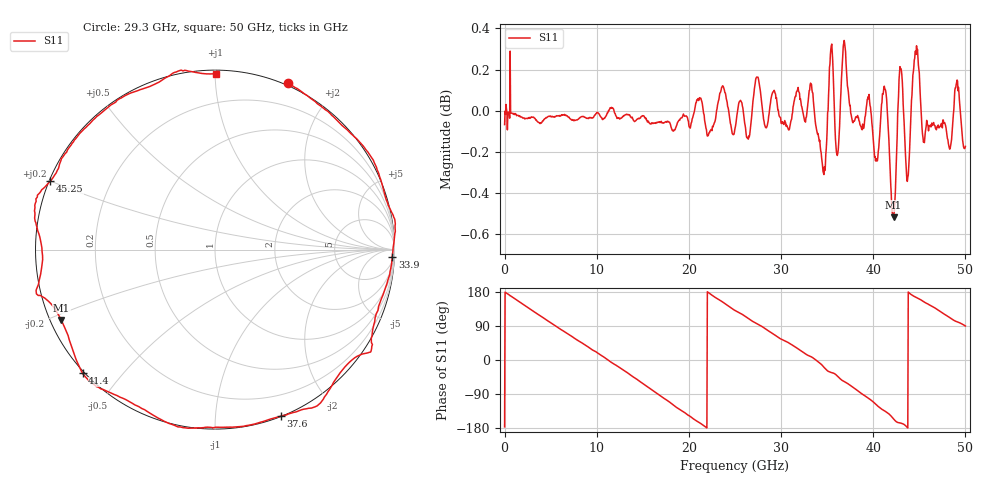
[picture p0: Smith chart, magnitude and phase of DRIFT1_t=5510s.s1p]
!Created with skrf (http://scikit-rf.org).
# Hz S RI R 50.0
!freq ReS11 ImS11
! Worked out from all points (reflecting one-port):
!   1001 points, 300 kHz to 50 GHz, reference 50 ohm
!   lowest |S11| = -0.5 dB at 42.2 GHz (marker M1), VSWR 33.54, Z = 1.56 - j10.9 ohm
!   phase of S11 starts at -176 deg and turns -814 deg over the sweep
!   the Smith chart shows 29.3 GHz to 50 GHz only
!   S11 on the Smith chart (normalised r, x): 29.3 GHz: -0.02, +1.53; 33.9 GHz: 12, -44; 37.6 GHz: 0.00, -1.47; 41.4 GHz: -0.01, -0.39; 45.25 GHz: 0.00, +0.20; 50 GHz: 0.02, +1.00
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300000  -0.9903 -0.0621
1.550291e9  -0.8991 0.4308
3.30028e9  -0.5816 0.8082
4.800271e9  -0.2005 0.9765
6.250262e9  0.1998 0.9776
9.500243e9  0.8887 0.4495
1.115023e10  0.9986 0.0223
1.250022e10  0.9333 -0.3459
1.580021e10  0.2453 -0.9619
1.73502e10  -0.2063 -0.9718
1.875019e10  -0.5926 -0.7972
2.155017e10  -0.9901 -0.1383
2.345016e10  -0.9257 0.4059
2.500015e10  -0.6439 0.7522
2.730014e10  -0.1235 1.011
2.930012e10  0.4058 0.9258
3.125011e10  0.7782 0.6266
3.39001e10  0.9875 -0.0422
3.520009e10  0.8718 -0.519
3.750008e10  0.3934 -0.9226
3.760007e10  0.3655 -0.9285
3.950006e10  -0.1921 -0.9883
4.140005e10  -0.7375 -0.689
4.220005e10  -0.8566 -0.3922
4.375004e10  -0.9634 -0.0113
4.525003e10  -0.9191 0.3805
4.770001e10  -0.5119 0.8512
5e10  0.00439 0.9802
